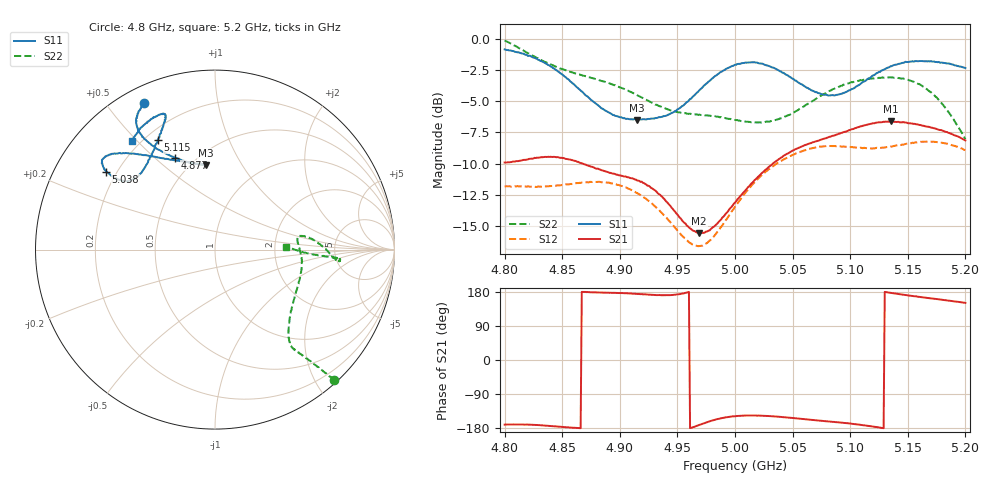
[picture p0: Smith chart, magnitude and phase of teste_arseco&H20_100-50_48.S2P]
! Network Analyzer HP8722D
! Hewlett-Packard
! Data name: Linha & Wilkinson
! Saver's name: Rodrigo Anjos
! Comments: Teste da utilização de aquisição
! continua pelo VNA HP8722D
! Time and date: 6/5/2025 12:58
!  Frequency  S11  S21  S12  S22
# HZ  S  MA R 50
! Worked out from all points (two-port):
!   401 points, 4.8 GHz to 5.2 GHz, reference 50 ohm
!   highest |S21| = -6.62 dB at 5.135 GHz (marker M1); lowest = -15.6 dB at 4.969 GHz (marker M2)
!   |S21| within 3 dB of the highest: 4.822 GHz to 4.853 GHz (31.1 MHz wide, 0.643 % of centre); 5.039 GHz to end of sweep
!   lowest |S11| = -6.5 dB at 4.915 GHz (marker M3), VSWR 2.80, Z = 29.2 + j35.4 ohm
!   |S11| at or under -10 dB: nowhere
!   |S22| runs from -8.1 to -0.1 dB; largest |S21 - S12| = 0.83
!   S11 on the Smith chart (normalised r, x): 4.8 GHz: 0.07, +0.63; 4.877 GHz: 0.39, +0.58; 5.038 GHz: 0.16, +0.31; 5.115 GHz: 0.25, +0.58; 5.2 GHz: 0.17, +0.48
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4.8e9  0.9051 115.8  0.3194 -170.5  0.2565 -85.9  0.983 -47.5
4.822e9  0.8543 120.8  0.3304 -170.8  0.2556 -80.9  0.8655 -48.9
4.835e9  0.799 122.7  0.3364 -173.0  0.2564 -76.4  0.8066 -49.6
4.867e9  0.6138 118.0  0.3172 179.7  0.2657 -67.2  0.7143 -51.4
4.877e9  0.5593 113.5  0.3058 178.5  0.2673 -66.1  0.6936 -51.7
4.895e9  0.494 103.9  0.2881 177.3  0.2625 -65.9  0.6512 -50.7
4.915e9  0.4731 96.4  0.2708 174.4  0.2413 -68.2  0.5941 -46.3
4.934e9  0.4851 99.3  0.2386 171.1  0.2067 -69.3  0.5373 -37.3
4.949e9  0.5151 108.7  0.1999 172.8  0.1731 -65.9  0.5092 -27.7
4.969e9  0.6212 123.4  0.1664 -171.4  0.1479 -47.6  0.497 -15.0
4.981e9  0.6973 130.0  0.1763 -159.2  0.1602 -33.7  0.4883 -8.7
5e9  0.7856 137.3  0.221 -148.3  0.2128 -21.3  0.4723 -0.2
5.018e9  0.8022 141.8  0.2738 -146.5  0.2692 -18.1  0.4623 5.8
5.038e9  0.7456 144.4  0.3293 -149.7  0.3204 -18.4  0.4765 9.0
5.067e9  0.6197 142.0  0.3839 -158.1  0.3645 -20.5  0.5613 4.6
5.088e9  0.5955 133.0  0.4131 -163.9  0.3711 -23.5  0.636 -1.5
5.115e9  0.6899 117.6  0.4532 -173.6  0.3635 -26.6  0.6888 -5.3
5.134e9  0.7687 111.3  0.4644 177.8  0.3687 -28.5  0.7 -4.8
5.135e9  0.775 111.2  0.4667 177.2  0.3699 -28.6  0.6999 -4.6
5.162e9  0.8133 112.8  0.4494 165.8  0.3866 -35.3  0.6493 -3.8
5.179e9  0.8025 118.5  0.4305 159.1  0.3833 -40.6  0.5536 -3.0
5.2e9  0.7626 127.4  0.3913 150.7  0.358 -46.2  0.3957 2.5
